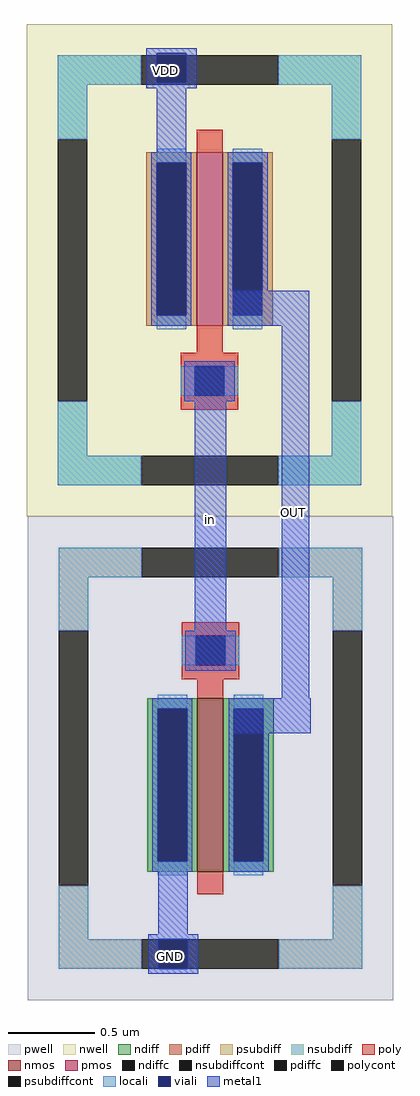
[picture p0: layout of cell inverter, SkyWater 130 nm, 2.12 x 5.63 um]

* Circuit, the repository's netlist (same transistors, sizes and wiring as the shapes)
** sch_path: /home/tiredcrab/MSIB/inverter/inverter.sch
.subckt inverter VDD in OUT GND
*.PININFO in:I VDD:I GND:I OUT:O
XM1 OUT in GND GND sky130_fd_pr__nfet_01v8 L=0.15 W=1 nf=1 m=1
XM2 OUT in VDD VDD sky130_fd_pr__pfet_01v8 L=0.15 W=1 nf=1 m=1
.ends
.end

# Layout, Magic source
magic
tech sky130A
magscale 1 2
<< viali >>
rect 96 1068 130 1102
rect 98 46 132 80
<< metal1 >>
rect 84 1102 142 1108
rect 84 1068 96 1102
rect 130 1068 142 1102
rect 84 1062 142 1068
rect 96 976 130 1062
rect 178 788 272 828
rect 140 392 176 740
rect 240 358 272 788
rect 180 318 274 358
rect 98 86 132 158
rect 86 80 144 86
rect 86 46 98 80
rect 132 46 144 80
rect 86 40 144 46
use sky130_fd_pr__nfet_01v8_64Z3AY  XM1
transform 1 0 158 0 1 289
box -211 -279 211 279
use sky130_fd_pr__pfet_01v8_LGS3BL  XM2
transform 1 0 157 0 1 852
box -211 -284 211 284
<< labels >>
flabel viali 106 1082 106 1082 0 FreeSans 160 0 0 0 VDD
port 0 nsew
flabel metal1 254 572 254 572 0 FreeSans 160 0 0 0 OUT
port 2 nsew
flabel metal1 158 564 158 564 0 FreeSans 160 0 0 0 in
port 4 nsew
flabel viali 112 60 112 60 0 FreeSans 160 0 0 0 GND
port 5 nsew
<< end >>

# cell sky130_fd_pr__nfet_01v8_64Z3AY: kit device sky130_fd_pr__nfet_01v8, w 1.0 l 0.15 m 1 nf 1 diffcov 100 polycov 100 guard 1 glc 1 grc 1 gtc 1 gbc 1 tbcov 100 rlcov 100 topc 1 botc 0 poverlap 0 doverlap 1 lmin 0.15 wmin 0.42 compatible {sky130_fd_pr__nfet_01v8 sky130_fd_pr__nfet_01v8_lvt sky130_fd_bs_flash__special_sonosfet_star sky130_fd_pr__nfet_g5v0d10v5 sky130_fd_pr__nfet_05v0_nvt sky130_fd_pr__nfet_03v3_nvt} full_metal 1 viasrc 100 viadrn 100 viagate 100 viagb 0 viagr 0 viagl 0 viagt 0

# cell sky130_fd_pr__pfet_01v8_LGS3BL: kit device sky130_fd_pr__pfet_01v8, w 1.0 l 0.15 m 1 nf 1 diffcov 100 polycov 100 guard 1 glc 1 grc 1 gtc 1 gbc 1 tbcov 100 rlcov 100 topc 0 botc 1 poverlap 0 doverlap 1 lmin 0.15 wmin 0.42 compatible {sky130_fd_pr__pfet_01v8 sky130_fd_pr__pfet_01v8_lvt sky130_fd_pr__pfet_01v8_hvt sky130_fd_pr__pfet_g5v0d10v5} full_metal 1 viasrc 100 viadrn 100 viagate 100 viagb 0 viagr 0 viagl 0 viagt 0
